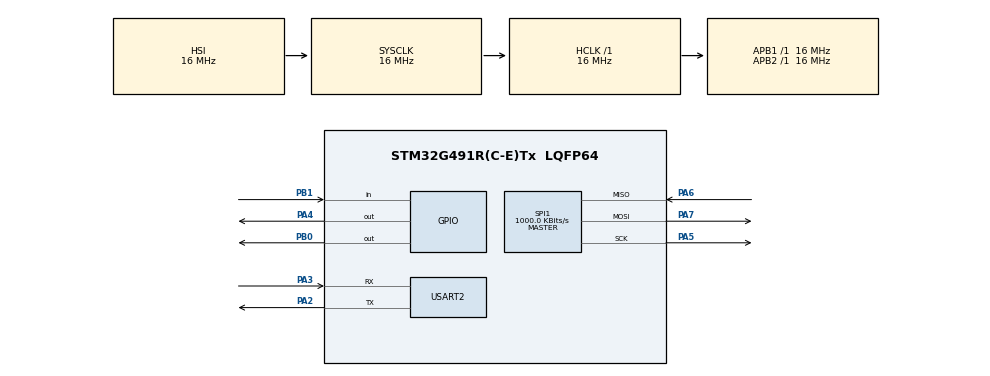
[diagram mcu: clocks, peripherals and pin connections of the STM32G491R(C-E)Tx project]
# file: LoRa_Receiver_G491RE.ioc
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Mcu.Family=STM32G4
Mcu.Name=STM32G491R(C-E)Tx
Mcu.Package=LQFP64
NVIC.PriorityGroup=NVIC_PRIORITYGROUP_4
PA2.Mode=Asynchronous
PA2.Signal=USART2_TX
PA3.Mode=Asynchronous
PA3.Signal=USART2_RX
PA4.Signal=GPIO_Output
PA5.Mode=Full_Duplex_Master
PA5.Signal=SPI1_SCK
PA6.Mode=Full_Duplex_Master
PA6.Signal=SPI1_MISO
PA7.Mode=Full_Duplex_Master
PA7.Signal=SPI1_MOSI
PB0.Signal=GPIO_Output
PB1.Signal=GPIO_Input
ProjectManager.HeapSize=0x200
ProjectManager.StackSize=0x400
ProjectManager.TargetToolchain=STM32CubeIDE
RCC.AHBFreq_Value=16000000
RCC.APB1Freq_Value=16000000
RCC.APB1TimFreq_Value=16000000
RCC.APB2Freq_Value=16000000
RCC.APB2TimFreq_Value=16000000
RCC.CortexFreq_Value=16000000
RCC.EXTERNAL_CLOCK_VALUE=12288000
RCC.HCLKFreq_Value=16000000
RCC.HSE_VALUE=8000000
RCC.HSI48_VALUE=48000000
RCC.HSI_VALUE=16000000
RCC.LSE_VALUE=32768
RCC.SYSCLKFreq_VALUE=16000000
RCC.VCOOutputFreq_Value=128000000
SPI1.BaudRatePrescaler=SPI_BAUDRATEPRESCALER_16
SPI1.CalculateBaudRate=1000.0 KBits/s
SPI1.DataSize=SPI_DATASIZE_8BIT
SPI1.Direction=SPI_DIRECTION_2LINES
SPI1.Mode=SPI_MODE_MASTER
SPI1.VirtualType=VM_MASTER
USART2.VirtualMode-Asynchronous=VM_ASYNC
VP_SYS_VS_DBSignals.Mode=DisableDeadBatterySignals
board=custom

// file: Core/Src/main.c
/* USER CODE BEGIN Header */
/**
  ******************************************************************************
  * @file           : main.c
  * @brief          : Main program body
  ******************************************************************************
  * @attention
  *
  * Copyright (c) 2026 STMicroelectronics.
  * All rights reserved.
  *
  * This software is licensed under terms that can be found in the LICENSE file
  * in the root directory of this software component.
  * If no LICENSE file comes with this software, it is provided AS-IS.
  *
  ******************************************************************************
  */
/* USER CODE END Header */
#include "main.h"
#include "lora.h"
#include "stdio.h"
#include "string.h"

/* USER CODE BEGIN PTD */
/*SCK   -> PA5
MISO  -> PA6
MOSI  -> PA7
NSS   -> PA4
RESET -> PB0
GND   -> GND
VCC   -> 3.3V*/
/* USER CODE END PTD */

SPI_HandleTypeDef hspi1;

UART_HandleTypeDef huart2;

/* USER CODE BEGIN PV */
//uint8_t tx[2] = {0x42, 0x00};
//uint8_t rx[2];
/* USER CODE END PV */

void SystemClock_Config(void);
static void MX_GPIO_Init(void);
static void MX_SPI1_Init(void);
static void MX_USART2_UART_Init(void);

/* USER CODE BEGIN 0 */
int __io_putchar(int ch)
{
    HAL_UART_Transmit(&huart2,
                      (uint8_t *)&ch,
                      1,
                      HAL_MAX_DELAY);

    return ch;
}
typedef struct __attribute__((packed))
{
    float latitude;
    float longitude;
    float altitude;
    float batteryVoltage;
    float batteryCurrent;
    uint8_t flightMode;
} Telemetry_t;

/* USER CODE END 0 */

int main(void)
{

  /* MCU Configuration--------------------------------------------------------*/

  /* Reset of all peripherals, Initializes the Flash interface and the Systick. */
  HAL_Init();

  /* Configure the system clock */
  SystemClock_Config();

  /* Initialize all configured peripherals */
  MX_GPIO_Init();
  MX_SPI1_Init();
  MX_USART2_UART_Init();
  /* USER CODE BEGIN 2 */
  uint8_t buffer[24];
  Telemetry_t rxData;
  LoRa_Reset();
  if(LoRa_Init(433000000))
      {
          printf("LoRa Init OK\r\n");
      }
      else
      {
          printf("LoRa Init Failed\r\n");
      }

      LoRa_WriteRegister(
          REG_OP_MODE,
          MODE_LONG_RANGE_MODE | 0x05);

  HAL_Delay(100);

  /* USER CODE END 2 */

  /* Infinite loop */
  while (1)
  {

    /* USER CODE BEGIN 3 */

	  int len = LoRa_Receive(buffer);

	  if(len > 0)
	  {
	      printf("\r\n----- RECEIVER_G491RE -----\r\n");
	      printf("Received Length = %d bytes\r\n", len);

	      if(len == sizeof(Telemetry_t))
	      {
	          memcpy(&rxData, buffer, sizeof(Telemetry_t));

	          printf("Latitude        = %.4f\r\n", rxData.latitude);
	          printf("Longitude       = %.4f\r\n", rxData.longitude);
	          printf("Altitude        = %.2f m\r\n", rxData.altitude);
	          printf("Battery Voltage = %.2f V\r\n", rxData.batteryVoltage);
	          printf("Battery Current = %.2f A\r\n", rxData.batteryCurrent);
	          printf("Flight Mode     = %d\r\n", rxData.flightMode);
	      }
	      else
	      {
	          printf("Packet Size Mismatch!\r\n");
	          printf("Expected = %u bytes\r\n",
	                 (unsigned int)sizeof(Telemetry_t));
	          printf("Received = %d bytes\r\n", len);
	      }

	      printf("---------------------------\r\n");
	  }

  }
  /* USER CODE END 3 */
}

void SystemClock_Config(void)
{
  RCC_OscInitTypeDef RCC_OscInitStruct = {0};
  RCC_ClkInitTypeDef RCC_ClkInitStruct = {0};

  /** Configure the main internal regulator output voltage
  */
  HAL_PWREx_ControlVoltageScaling(PWR_REGULATOR_VOLTAGE_SCALE1);

  /** Initializes the RCC Oscillators according to the specified parameters
  * in the RCC_OscInitTypeDef structure.
  */
  RCC_OscInitStruct.OscillatorType = RCC_OSCILLATORTYPE_HSI;
  RCC_OscInitStruct.HSIState = RCC_HSI_ON;
  RCC_OscInitStruct.HSICalibrationValue = RCC_HSICALIBRATION_DEFAULT;
  RCC_OscInitStruct.PLL.PLLState = RCC_PLL_NONE;
  if (HAL_RCC_OscConfig(&RCC_OscInitStruct) != HAL_OK)
  {
    Error_Handler();
  }

  /** Initializes the CPU, AHB and APB buses clocks
  */
  RCC_ClkInitStruct.ClockType = RCC_CLOCKTYPE_HCLK|RCC_CLOCKTYPE_SYSCLK
                              |RCC_CLOCKTYPE_PCLK1|RCC_CLOCKTYPE_PCLK2;
  RCC_ClkInitStruct.SYSCLKSource = RCC_SYSCLKSOURCE_HSI;
  RCC_ClkInitStruct.AHBCLKDivider = RCC_SYSCLK_DIV1;
  RCC_ClkInitStruct.APB1CLKDivider = RCC_HCLK_DIV1;
  RCC_ClkInitStruct.APB2CLKDivider = RCC_HCLK_DIV1;

  if (HAL_RCC_ClockConfig(&RCC_ClkInitStruct, FLASH_LATENCY_0) != HAL_OK)
  {
    Error_Handler();
  }
}

static void MX_SPI1_Init(void)
{

  /* SPI1 parameter configuration*/
  hspi1.Instance = SPI1;
  hspi1.Init.Mode = SPI_MODE_MASTER;
  hspi1.Init.Direction = SPI_DIRECTION_2LINES;
  hspi1.Init.DataSize = SPI_DATASIZE_8BIT;
  hspi1.Init.CLKPolarity = SPI_POLARITY_LOW;
  hspi1.Init.CLKPhase = SPI_PHASE_1EDGE;
  hspi1.Init.NSS = SPI_NSS_SOFT;
  hspi1.Init.BaudRatePrescaler = SPI_BAUDRATEPRESCALER_16;
  hspi1.Init.FirstBit = SPI_FIRSTBIT_MSB;
  hspi1.Init.TIMode = SPI_TIMODE_DISABLE;
  hspi1.Init.CRCCalculation = SPI_CRCCALCULATION_DISABLE;
  hspi1.Init.CRCPolynomial = 7;
  hspi1.Init.CRCLength = SPI_CRC_LENGTH_DATASIZE;
  hspi1.Init.NSSPMode = SPI_NSS_PULSE_ENABLE;
  if (HAL_SPI_Init(&hspi1) != HAL_OK)
  {
    Error_Handler();
  }

}

static void MX_USART2_UART_Init(void)
{

  huart2.Instance = USART2;
  huart2.Init.BaudRate = 115200;
  huart2.Init.WordLength = UART_WORDLENGTH_8B;
  huart2.Init.StopBits = UART_STOPBITS_1;
  huart2.Init.Parity = UART_PARITY_NONE;
  huart2.Init.Mode = UART_MODE_TX_RX;
  huart2.Init.HwFlowCtl = UART_HWCONTROL_NONE;
  huart2.Init.OverSampling = UART_OVERSAMPLING_16;
  huart2.Init.OneBitSampling = UART_ONE_BIT_SAMPLE_DISABLE;
  huart2.Init.ClockPrescaler = UART_PRESCALER_DIV1;
  huart2.AdvancedInit.AdvFeatureInit = UART_ADVFEATURE_NO_INIT;
  if (HAL_UART_Init(&huart2) != HAL_OK)
  {
    Error_Handler();
  }
  if (HAL_UARTEx_SetTxFifoThreshold(&huart2, UART_TXFIFO_THRESHOLD_1_8) != HAL_OK)
  {
    Error_Handler();
  }
  if (HAL_UARTEx_SetRxFifoThreshold(&huart2, UART_RXFIFO_THRESHOLD_1_8) != HAL_OK)
  {
    Error_Handler();
  }
  if (HAL_UARTEx_DisableFifoMode(&huart2) != HAL_OK)
  {
    Error_Handler();
  }

}

static void MX_GPIO_Init(void)
{
  GPIO_InitTypeDef GPIO_InitStruct = {0};

  /* GPIO Ports Clock Enable */
  __HAL_RCC_GPIOA_CLK_ENABLE();
  __HAL_RCC_GPIOB_CLK_ENABLE();

  /*Configure GPIO pin Output Level */
  HAL_GPIO_WritePin(GPIOA, GPIO_PIN_4, GPIO_PIN_RESET);

  /*Configure GPIO pin Output Level */
  HAL_GPIO_WritePin(GPIOB, GPIO_PIN_0, GPIO_PIN_RESET);

  /*Configure GPIO pin : PA4 */
  GPIO_InitStruct.Pin = GPIO_PIN_4;
  GPIO_InitStruct.Mode = GPIO_MODE_OUTPUT_PP;
  GPIO_InitStruct.Pull = GPIO_NOPULL;
  GPIO_InitStruct.Speed = GPIO_SPEED_FREQ_LOW;
  HAL_GPIO_Init(GPIOA, &GPIO_InitStruct);

  /*Configure GPIO pin : PB0 */
  GPIO_InitStruct.Pin = GPIO_PIN_0;
  GPIO_InitStruct.Mode = GPIO_MODE_OUTPUT_PP;
  GPIO_InitStruct.Pull = GPIO_NOPULL;
  GPIO_InitStruct.Speed = GPIO_SPEED_FREQ_LOW;
  HAL_GPIO_Init(GPIOB, &GPIO_InitStruct);

  /*Configure GPIO pin : PB1 */
  GPIO_InitStruct.Pin = GPIO_PIN_1;
  GPIO_InitStruct.Mode = GPIO_MODE_INPUT;
  GPIO_InitStruct.Pull = GPIO_NOPULL;
  HAL_GPIO_Init(GPIOB, &GPIO_InitStruct);

}

void Error_Handler(void)
{
  __disable_irq();
  while (1)
  {
  }
}
